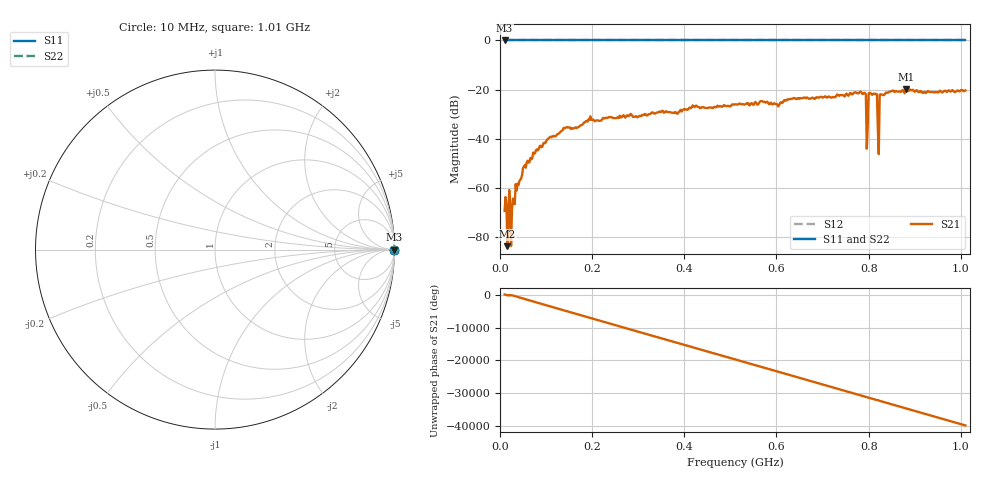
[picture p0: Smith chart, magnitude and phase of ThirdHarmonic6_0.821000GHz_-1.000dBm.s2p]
! 8/16/2025 3:18:02 AM
! C:\ANRITSUVNA\TEMP\TEMP.S2P
! CHANNEL.1
! TR.MEASUREMENT
! RAW.DATA
! RF.CORRECTION.OFF
! AVERAGING.OFF
! IF.BANDWIDTH: 5KHZ
! SWEEPTYPE:  FREQ.SWEEP(Linear)
! Reference Plane Port Info
! PORT:  PORT1  PORT2
! DISTANCE:  0  m  0  m
! TIME:  0  s  0  s
! PHASE.OFFSET:  0  deg.  0  deg.
! LOSS:  0  dB  0  dB
! REF.LOSS:  0  dB  0  dB
! REF.FREQ:  0  Hz  0  Hz
! Power Info
! POWER:  -20  dBm  -20  dBm
! EFF.POWER:  -20  dBm  -20  dBm
! SOURCE.ATTEN:  0  dB  0  dB
! TEST.ATTEN:  0  dB  0  dB
# GHZ S RI R 50.0
! FREQ.GHZ  S11RE  S11IM  S21RE  S21IM  S12RE  S12IM  S22RE  S22IM
!; PortSelection: Port_12
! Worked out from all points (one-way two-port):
!   501 points, 10 MHz to 1.01 GHz, reference 50 ohm
!   highest |S21| = -19.84 dB at 882 MHz (marker M1); lowest = -83.6 dB at 16 MHz (marker M2)
!   lowest |S11| = 0.0 dB at 10 MHz (marker M3)
!   |S11| at or under -10 dB: nowhere
!   |S22| runs from 0.0 to 0.0 dB; largest |S21 - S12| = 1.1
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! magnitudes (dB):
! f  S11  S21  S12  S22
! 10 MHz  0.0  -69.3  0.0  0.0
! 16 MHz  0.0  -83.6  0.0  0.0
! 20 MHz  0.0  -60.8  0.0  0.0
! 38 MHz  0.0  -58.2  0.0  0.0
! 76 MHz  0.0  -45.8  0.0  0.0
! 142 MHz  0.0  -35.4  0.0  0.0
! 178 MHz  0.0  -34.3  0.0  0.0
! 344 MHz  0.0  -29.2  0.0  0.0
! 510 MHz  0.0  -26.0  0.0  0.0
! 678 MHz  0.0  -23.2  0.0  0.0
! 786 MHz  0.0  -21.7  0.0  0.0
! 790 MHz  0.0  -21.4  0.0  0.0
! 794 MHz  0.0  -21.9  0.0  0.0
! 798 MHz  0.0  -34.9  0.0  0.0
! 804 MHz  0.0  -21.4  0.0  0.0
! 814 MHz  0.0  -21.9  0.0  0.0
! 818 MHz  0.0  -21.8  0.0  0.0
! 824 MHz  0.0  -22.1  0.0  0.0
! 828 MHz  0.0  -22.0  0.0  0.0
! 844 MHz  0.0  -20.9  0.0  0.0
! 882 MHz  0.0  -19.8  0.0  0.0
! 1.01 GHz  0.0  -20.3  0.0  0.0
